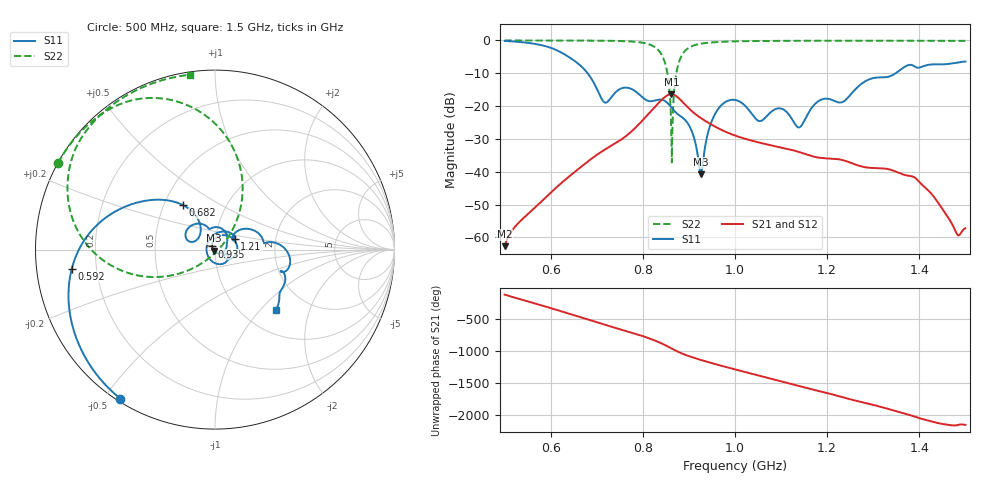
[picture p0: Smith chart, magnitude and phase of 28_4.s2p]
! TOUCHSTONE file generated by CST MICROWAVE STUDIO
! Date and time: Fri Oct  2 16:58:43 2020
! Project name: Scenario_1_Free_Space_out_of_line.cst
! Parameters = {Lambda=346.42; Step_1=17.321; dy1=-120.567; dx1=693; L_HA=400; MT=2.54; Rad_Dielectric=30; Rad_Lower=7.3; Rad_Upper=30; a_HA=580; a_WG=246; b_HA=500; b_WG=121; c_HA=0; c_WG=187; d_feed=85; h_feed=15; h_lower=18; h_upper=40}
! Header version: 2018
! Port assignment regex: !\s*Touchstone port\s*([0-9]+)\s*=\s*(CST MWS port|CST DS port)\s*([0-9]+|Zmin|Zmax)\s*\(\"(.*)\"\)(\s*mode\s*([0-9]+))?.*
! Touchstone port assignment:
! Touchstone port 1 = CST MWS port 1 ("")
! Touchstone port 2 = CST MWS port 2 ("")
# GHz S DB R 50
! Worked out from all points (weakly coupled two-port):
!   1003 points, 500 MHz to 1.5 GHz, reference 50 ohm
!   highest |S21| = -16.38 dB at 862 MHz (marker M1); lowest = -62.7 dB at 500 MHz (marker M2)
!   lowest |S11| = -40.8 dB at 926 MHz (marker M3), VSWR 1.02, Z = 49.3 - j0.537 ohm
!   |S11| at or under -10 dB: 680.2 MHz to 1.349 GHz (668.4 MHz wide, 65.9 % of centre)
!   |S22| runs from -37.2 to 0.0 dB; largest |S21 - S12| = 3.3e-05
!   S11 on the Smith chart (normalised r, x): 500 MHz: 0.01, -0.55; 592 MHz: 0.11, -0.07; 682 MHz: 0.63, +0.34; 935 MHz: 0.97, +0.03; 1.21 GHz: 1.24, +0.14; 1.5 GHz: 1.41, -1.23
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0.5  -0.15 -122.4  -62.67 -117.7  -62.67 -117.7  -0.01 151.1
0.592  -1.88 -172.3  -47.44 47.5  -47.44 47.5  -0.02 144.7
0.667  -7.97 136.1  -38.39 -116.3  -38.39 -116.3  -0.04 138.4
0.682  -10.33 125.7  -36.73 -149.5  -36.73 -149.5  -0.05 136.8
0.718  -18.95 142.9  -33.21 129.2  -33.21 129.2  -0.10 132.6
0.761  -14.37 144.5  -29.40 37.0  -29.40 37.0  -0.22 125.5
0.834  -18.04 89.7  -19.07 -141.0  -19.07 -141.0  -2.99 90.5
0.851  -18.74 61.1  -16.90 162.0  -16.90 162.0  -8.44 66.0
0.862  -20.43 43.3  -16.38 120.4  -16.38 120.4  -29.49 23.3
0.882  -23.09 20.0  -18.14 48.9  -18.14 48.9  -5.28 -168.2
0.906  -27.56 -25.5  -21.49 -15.6  -21.49 -15.6  -1.77 167.4
0.926  -40.79 -143.3  -23.66 -60.7  -23.66 -60.7  -1.00 157.3
0.935  -32.41 133.3  -24.48 -80.0  -24.48 -80.0  -0.82 154.2
0.96  -21.60 69.5  -26.50 -131.4  -26.50 -131.4  -0.50 147.7
1  -18.12 -1.8  -28.96 151.5  -28.96 151.5  -0.27 140.7
1.138  -26.51 -175.0  -33.95 -109.2  -33.95 -109.2  -0.11 126.7
1.167  -20.46 81.5  -35.26 -161.6  -35.26 -161.6  -0.10 124.4
1.21  -18.08 27.3  -36.00 122.5  -36.00 122.5  -0.09 121.0
1.334  -11.02 7.6  -39.26 -111.2  -39.26 -111.2  -0.09 111.6
1.392  -8.10 -18.6  -41.98 126.6  -41.98 126.6  -0.10 107.1
1.483  -6.72 -39.6  -59.21 0.2  -59.29 -0.7  -0.13 99.6
1.5  -6.41 -44.6  -57.22 3.6  -57.21 4.7  -0.14 98.1
